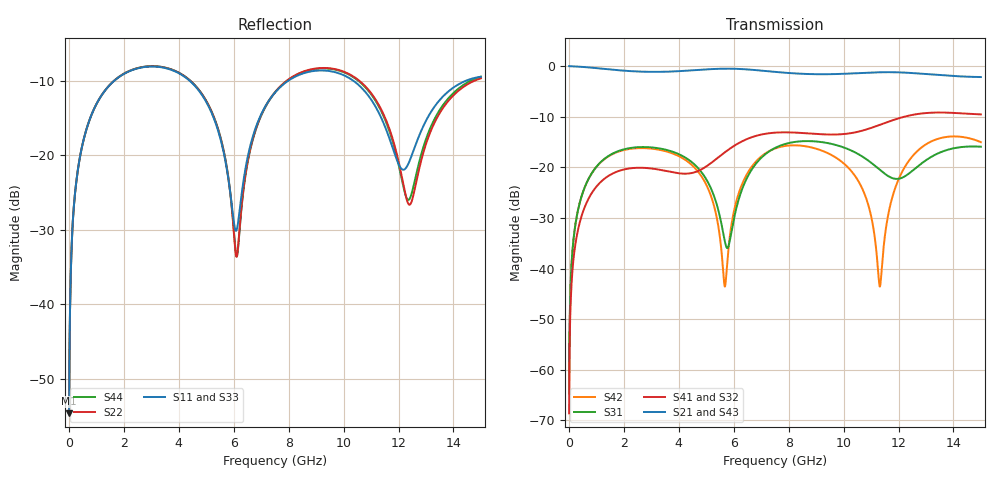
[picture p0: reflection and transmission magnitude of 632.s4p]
! Created with skrf 1.8.0 (http://scikit-rf.org).
# GHz S RI R 50.0
!freq ReS11 ImS11 ReS12 ImS12 ReS13 ImS13
! ReS14 ImS14
! ReS21 ImS21 ReS22 ImS22 ReS23 ImS23
! ReS24 ImS24
! ReS31 ImS31 ReS32 ImS32 ReS33 ImS33
! ReS34 ImS34
! ReS41 ImS41 ReS42 ImS42 ReS43 ImS43
! ReS44 ImS44
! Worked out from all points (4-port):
!   2499 points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, 5 MHz to 15 GHz, reference 50 ohm
!   strongest paths, dB at 5 MHz, 3.476 GHz, 7.19 GHz, 11.1 GHz, 15 GHz:
!     S21: 0.0, -1.1, -1.0, -1.3, -2.2
!     S43: 0.0, -1.1, -1.0, -1.2, -2.2
!     S41: -68.6, -20.7, -13.3, -12.0, -9.5
!     S32: -68.6, -20.7, -13.3, -12.1, -9.5
!     S31: -64.7, -16.5, -17.2, -19.5, -15.9
!     S42: -64.7, -16.8, -17.1, -32.5, -15.0
!   lowest |S11| = -54.7 dB at 5 MHz (marker M1), VSWR 1.00, Z = 50.1 + j0.112 ohm
!   |S11| at or under -10 dB: start of sweep to 1.659 GHz; 4.384 GHz to 7.997 GHz (3.613 GHz wide, 58.4 % of centre); 10.34 GHz to 14.48 GHz (4.135 GHz wide, 33.3 % of centre)
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0.005  0.00147 0.00112  0.9985 -0.00287  7.34e-05 0.000581  -7.13e-05 -0.000364
       0.9985 -0.00287  0.00147 0.00112  -7.13e-05 -0.000364  7.33e-05 0.000581
       7.34e-05 0.000581  -7.13e-05 -0.000364  0.00147 0.00112  0.9985 -0.00287
       -7.13e-05 -0.000364  7.33e-05 0.000581  0.9985 -0.00287  0.00147 0.00112
0.3626511  0.0251 0.0849  0.9654 -0.2063  0.012 0.0397  -0.00975 -0.0246
           0.9654 -0.2063  0.0252 0.0849  -0.00974 -0.0246  0.0115 0.0398
           0.012 0.0397  -0.00974 -0.0246  0.0251 0.0849  0.9654 -0.2063
           -0.00975 -0.0246  0.0115 0.0398  0.9654 -0.2063  0.0252 0.0849
1.619545  0.2498 0.1863  0.5908 -0.7048  0.1227 0.0632  -0.0866 -0.0129
          0.5908 -0.7048  0.2515 0.1853  -0.0866 -0.0129  0.1174 0.0695
          0.1227 0.0632  -0.0866 -0.0129  0.2498 0.1863  0.5908 -0.7048
          -0.0866 -0.0129  0.1174 0.0695  0.5908 -0.7048  0.2515 0.1853
5.677366  0.0484 -0.0817  -0.9016 -0.2762  -0.0161 -0.00907  -0.0365 0.136
          -0.9016 -0.2762  0.0392 -0.0885  -0.0371 0.1358  0.00659 0.000732
          -0.0161 -0.00907  -0.0371 0.1358  0.0486 -0.0828  -0.9014 -0.2763
          -0.0365 0.136  0.00659 0.000732  -0.9014 -0.2763  0.0396 -0.0895
9.491455  0.3643 -0.0329  0.0216 0.8317  0.1204 -0.1229  0.2008 -0.0642
          0.0216 0.8317  0.3792 -0.0465  0.2005 -0.0625  0.1233 -0.0557
          0.1204 -0.1229  0.2005 -0.0625  0.3618 -0.0352  0.0225 0.8327
          0.2008 -0.0642  0.1233 -0.0557  0.0225 0.8327  0.3766 -0.0449
11.32347  0.1403 -0.1213  0.6987 0.517  -0.0694 -0.064  0.1487 -0.2169
          0.6987 0.517  0.1327 -0.1629  0.151 -0.2149  0.00643 0.00167
          -0.0694 -0.064  0.151 -0.2149  0.1333 -0.1198  0.7013 0.5152
          0.1487 -0.2169  0.00643 0.00167  0.7013 0.5152  0.1323 -0.1566
15  0.3325 0.0403  0.2673 -0.7323  0.1325 -0.0894  -0.3281 -0.0592
    0.2673 -0.7323  0.3184 0.075  -0.327 -0.0634  0.1563 -0.0835
    0.1325 -0.0894  -0.327 -0.0634  0.3405 0.0439  0.2632 -0.7301
    -0.3281 -0.0592  0.1563 -0.0835  0.2632 -0.7301  0.3275 0.0745
